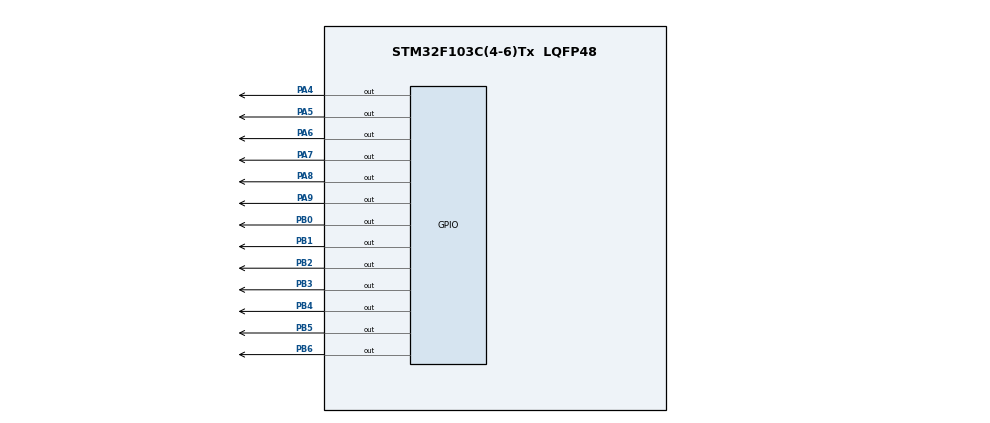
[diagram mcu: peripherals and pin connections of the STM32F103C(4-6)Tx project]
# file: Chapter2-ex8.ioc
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Mcu.Family=STM32F1
Mcu.Name=STM32F103C(4-6)Tx
Mcu.Package=LQFP48
NVIC.PriorityGroup=NVIC_PRIORITYGROUP_4
NVIC.TIM2_IRQn=true\:0\:0\:false\:false\:true\:true\:true
PA4.Signal=GPIO_Output
PA5.Signal=GPIO_Output
PA6.Signal=GPIO_Output
PA7.Signal=GPIO_Output
PA8.Signal=GPIO_Output
PA9.Signal=GPIO_Output
PB0.Signal=GPIO_Output
PB1.Signal=GPIO_Output
PB2.Signal=GPIO_Output
PB3.Signal=GPIO_Output
PB4.Signal=GPIO_Output
PB5.Signal=GPIO_Output
PB6.Signal=GPIO_Output
ProjectManager.HeapSize=0x200
ProjectManager.StackSize=0x400
ProjectManager.TargetToolchain=STM32CubeIDE
RCC.APB1Freq_Value=8000000
RCC.APB2Freq_Value=8000000
TIM2.AutoReloadPreload=TIM_AUTORELOAD_PRELOAD_ENABLE
TIM2.Period=9
TIM2.Prescaler=7999
VP_SYS_VS_ND.Mode=No_Debug
VP_TIM2_VS_ClockSourceINT.Mode=Internal
board=custom

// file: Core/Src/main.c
/* USER CODE BEGIN Header */
/**
  ******************************************************************************
  * @file           : main.c
  * @brief          : Main program body
  ******************************************************************************
  * @attention
  *
  * <h2><center>&copy; Copyright (c) 2021 STMicroelectronics.
  * All rights reserved.</center></h2>
  *
  * This software component is licensed by ST under BSD 3-Clause license,
  * the "License"; You may not use this file except in compliance with the
  * License. You may obtain a copy of the License at:
  *                        opensource.org/licenses/BSD-3-Clause
  *
  ******************************************************************************
  */
/* USER CODE END Header */
#include "main.h"

TIM_HandleTypeDef htim2;

/* USER CODE BEGIN PV */
const int MAX_LED = 4;
int index_led = 0;
int led_buffer [4] = {0, 0, 0, 0};

int hour = 15, minute = 8, second = 50;

int TIMER_CYCLE = 10;
int timer0_counter = 0;
int timer0_flag = 0;
int timer1_counter = 0;
int timer1_flag = 0;

/* USER CODE END PV */

void SystemClock_Config(void);
static void MX_TIM2_Init(void);
static void MX_GPIO_Init(void);

/* USER CODE BEGIN PFP */
void update7SEG(int);
void updateClockBuffer(void);
void display7SEG(int);
void setTimer0(int);
void setTimer1(int);
void timer_run(void);
/* USER CODE END PFP */

int main(void)
{

  /* MCU Configuration--------------------------------------------------------*/

  /* Reset of all peripherals, Initializes the Flash interface and the Systick. */
  HAL_Init();

  /* Configure the system clock */
  SystemClock_Config();

  /* Initialize all configured peripherals */
  MX_TIM2_Init();
  MX_GPIO_Init();
  /* USER CODE BEGIN 2 */
  HAL_TIM_Base_Start_IT(&htim2);
  /* USER CODE END 2 */

  /* Infinite loop */
  /* USER CODE BEGIN WHILE */
  setTimer0(10);
  setTimer1(10);
  while (1)
  {
	  if(timer0_flag) {
		  timer0_flag = 0;
		  setTimer0(1000);

		  HAL_GPIO_TogglePin(DOT_PORT, DOT);
		  HAL_GPIO_TogglePin(RLED_PORT, RLED1);

		  second++;
		  if(second >= 60) {
			  second = 0;
			  minute++;
		  }
		  if(minute >= 60) {
			  minute = 0;
			  hour++;
		  }
		  if(hour >= 24) {
			  hour = 0;
		  }
		  updateClockBuffer();
	  }
	  if(timer1_flag) {
		  timer1_flag = 0;
		  setTimer1(55);

		  update7SEG(index_led++);
		  if(index_led == MAX_LED) index_led = 0;
	  }

    /* USER CODE END WHILE */

  }
}

void SystemClock_Config(void)
{
  RCC_OscInitTypeDef RCC_OscInitStruct = {0};
  RCC_ClkInitTypeDef RCC_ClkInitStruct = {0};

  /** Initializes the RCC Oscillators according to the specified parameters
  * in the RCC_OscInitTypeDef structure.
  */
  RCC_OscInitStruct.OscillatorType = RCC_OSCILLATORTYPE_HSI;
  RCC_OscInitStruct.HSIState = RCC_HSI_ON;
  RCC_OscInitStruct.HSICalibrationValue = RCC_HSICALIBRATION_DEFAULT;
  RCC_OscInitStruct.PLL.PLLState = RCC_PLL_NONE;
  if (HAL_RCC_OscConfig(&RCC_OscInitStruct) != HAL_OK)
  {
    Error_Handler();
  }
  /** Initializes the CPU, AHB and APB buses clocks
  */
  RCC_ClkInitStruct.ClockType = RCC_CLOCKTYPE_HCLK|RCC_CLOCKTYPE_SYSCLK
                              |RCC_CLOCKTYPE_PCLK1|RCC_CLOCKTYPE_PCLK2;
  RCC_ClkInitStruct.SYSCLKSource = RCC_SYSCLKSOURCE_HSI;
  RCC_ClkInitStruct.AHBCLKDivider = RCC_SYSCLK_DIV1;
  RCC_ClkInitStruct.APB1CLKDivider = RCC_HCLK_DIV1;
  RCC_ClkInitStruct.APB2CLKDivider = RCC_HCLK_DIV1;

  if (HAL_RCC_ClockConfig(&RCC_ClkInitStruct, FLASH_LATENCY_0) != HAL_OK)
  {
    Error_Handler();
  }
}

static void MX_TIM2_Init(void)
{

  TIM_ClockConfigTypeDef sClockSourceConfig = {0};
  TIM_MasterConfigTypeDef sMasterConfig = {0};

  htim2.Instance = TIM2;
  htim2.Init.Prescaler = 7999;
  htim2.Init.CounterMode = TIM_COUNTERMODE_UP;
  htim2.Init.Period = 9;
  htim2.Init.ClockDivision = TIM_CLOCKDIVISION_DIV1;
  htim2.Init.AutoReloadPreload = TIM_AUTORELOAD_PRELOAD_ENABLE;
  if (HAL_TIM_Base_Init(&htim2) != HAL_OK)
  {
    Error_Handler();
  }
  sClockSourceConfig.ClockSource = TIM_CLOCKSOURCE_INTERNAL;
  if (HAL_TIM_ConfigClockSource(&htim2, &sClockSourceConfig) != HAL_OK)
  {
    Error_Handler();
  }
  sMasterConfig.MasterOutputTrigger = TIM_TRGO_RESET;
  sMasterConfig.MasterSlaveMode = TIM_MASTERSLAVEMODE_DISABLE;
  if (HAL_TIMEx_MasterConfigSynchronization(&htim2, &sMasterConfig) != HAL_OK)
  {
    Error_Handler();
  }

}

static void MX_GPIO_Init(void)
{
  GPIO_InitTypeDef GPIO_InitStruct = {0};

  /* GPIO Ports Clock Enable */
  __HAL_RCC_GPIOA_CLK_ENABLE();
  __HAL_RCC_GPIOB_CLK_ENABLE();

  /*Configure GPIO pin Output Level */
  HAL_GPIO_WritePin(GPIOA, GPIO_PIN_4|GPIO_PIN_5|GPIO_PIN_6|GPIO_PIN_7
                          |GPIO_PIN_8|GPIO_PIN_9, GPIO_PIN_RESET);

  /*Configure GPIO pin Output Level */
  HAL_GPIO_WritePin(GPIOB, GPIO_PIN_0|GPIO_PIN_1|GPIO_PIN_2|GPIO_PIN_3
                          |GPIO_PIN_4|GPIO_PIN_5|GPIO_PIN_6, GPIO_PIN_RESET);

  /*Configure GPIO pins : PA4 PA5 PA6 PA7
                           PA8 PA9 */
  GPIO_InitStruct.Pin = GPIO_PIN_4|GPIO_PIN_5|GPIO_PIN_6|GPIO_PIN_7
                          |GPIO_PIN_8|GPIO_PIN_9;
  GPIO_InitStruct.Mode = GPIO_MODE_OUTPUT_PP;
  GPIO_InitStruct.Pull = GPIO_NOPULL;
  GPIO_InitStruct.Speed = GPIO_SPEED_FREQ_LOW;
  HAL_GPIO_Init(GPIOA, &GPIO_InitStruct);

  /*Configure GPIO pins : PB0 PB1 PB2 PB3
                           PB4 PB5 PB6 */
  GPIO_InitStruct.Pin = GPIO_PIN_0|GPIO_PIN_1|GPIO_PIN_2|GPIO_PIN_3
                          |GPIO_PIN_4|GPIO_PIN_5|GPIO_PIN_6;
  GPIO_InitStruct.Mode = GPIO_MODE_OUTPUT_PP;
  GPIO_InitStruct.Pull = GPIO_NOPULL;
  GPIO_InitStruct.Speed = GPIO_SPEED_FREQ_LOW;
  HAL_GPIO_Init(GPIOB, &GPIO_InitStruct);

}

/* USER CODE BEGIN 4 */
void display7SEG(int num) {
	HAL_GPIO_WritePin(SEG_PORT, SEG0 | SEG1 | SEG2 | SEG3 | SEG4 | SEG5 | SEG6, 1);
		switch(num) {
		case 0:
			HAL_GPIO_WritePin(SEG_PORT, SEG0 | SEG1 | SEG2 | SEG3 | SEG4 | SEG5, 0);
			break;
		case 1:
			HAL_GPIO_WritePin(SEG_PORT, SEG1 | SEG2, 0);
			break;
		case 2:
			HAL_GPIO_WritePin(SEG_PORT, SEG0 | SEG1 | SEG3 | SEG4 | SEG6, 0);
			break;
		case 3:
			HAL_GPIO_WritePin(SEG_PORT, SEG0 | SEG1 | SEG2 | SEG3 | SEG6, 0);
			break;
		case 4:
			HAL_GPIO_WritePin(SEG_PORT, SEG1 | SEG2 | SEG5 | SEG6, 0);
			break;
		case 5:
			HAL_GPIO_WritePin(SEG_PORT, SEG0 | SEG2 | SEG3 | SEG5 | SEG6, 0);
			break;
		case 6:
			HAL_GPIO_WritePin(SEG_PORT, SEG0 | SEG2 | SEG3 | SEG4 | SEG5 | SEG6, 0);
			break;
		case 7:
			HAL_GPIO_WritePin(SEG_PORT, SEG0 | SEG1 | SEG2, 0);
			break;
		case 8:
			HAL_GPIO_WritePin(SEG_PORT, SEG0 | SEG1 | SEG2 | SEG3 | SEG4 | SEG5 | SEG6, 0);
			break;
		case 9:
			HAL_GPIO_WritePin(SEG_PORT, SEG0 | SEG1 | SEG2 | SEG3 | SEG5 | SEG6, 0);
			break;
		}
}

void update7SEG(int index) {
	HAL_GPIO_WritePin(EN_PORT, EN0 | EN1 | EN2 | EN3, 1);
	display7SEG(led_buffer[index]);

	switch(index) {
	case 0:
		HAL_GPIO_WritePin(EN_PORT, EN0, 0);
		break;
	case 1:
		HAL_GPIO_WritePin(EN_PORT, EN1, 0);
		break;
	case 2:
		HAL_GPIO_WritePin(EN_PORT, EN2, 0);
		break;
	case 3:
		HAL_GPIO_WritePin(EN_PORT, EN3, 0);
		break;
	default:
		break;
	}
}

void updateClockBuffer() {
	led_buffer[0] = hour / 10;
	led_buffer[1] = hour % 10;
	led_buffer[2] = minute / 10;
	led_buffer[3] = minute % 10;
}

void setTimer0(int duration) {
	timer0_counter = duration / TIMER_CYCLE;
	timer0_flag = 0;
}
void setTimer1(int duration) {
	timer1_counter = duration / TIMER_CYCLE;
	timer1_flag = 0;
}

void timer_run() {
	if(timer0_counter > 0) {
		timer0_counter--;
		if(timer0_counter == 0) {
			timer0_flag = 1;
		}
	}

	if(timer1_counter > 0) {
		timer1_counter--;
		if(timer1_counter == 0) {
			timer1_flag = 1;
		}
	}
}

void HAL_TIM_PeriodElapsedCallback(TIM_HandleTypeDef*htim) {
	timer_run();
}
/* USER CODE END 4 */

void Error_Handler(void)
{
  __disable_irq();
  while (1)
  {
  }
}

/************************ (C) COPYRIGHT STMicroelectronics *****END OF FILE****/
